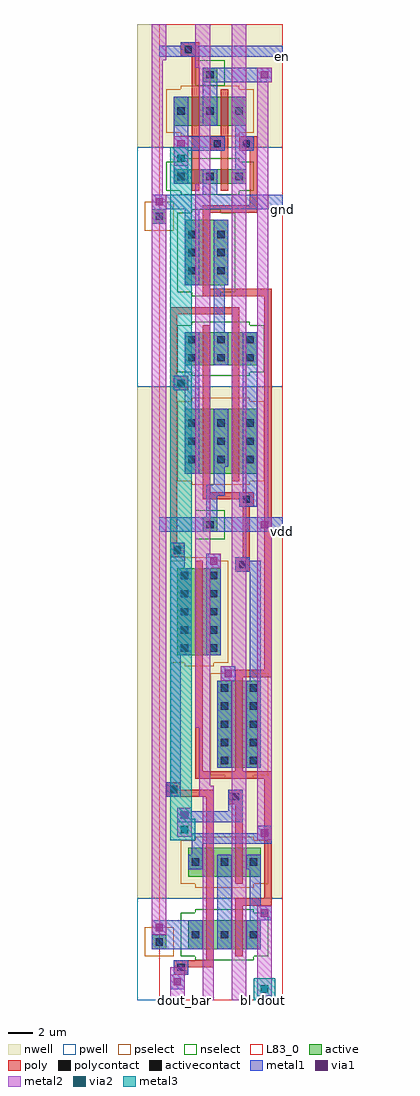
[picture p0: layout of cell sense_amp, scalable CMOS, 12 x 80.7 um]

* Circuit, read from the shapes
.subckt sense_amp bl br dout dout_bar en gnd vdd
M1 gnd en n1 gnd nfet w=1.2u l=0.6u
M2 n2 n3 dout_bar gnd nfet w=2.7u l=0.6u
M3 n2 n4 gnd gnd nfet w=5.4u l=0.6u
M4 n5 dout_bar gnd gnd nfet w=2.4u l=0.6u
M5 n4 n1 gnd gnd nfet w=1.2u l=0.6u
M6 n3 dout_bar n2 gnd nfet w=2.7u l=0.6u
M7 dout n4 n5 gnd nfet w=2.4u l=0.6u
M8 vdd en n1 vdd pfet w=2.4u l=0.6u
M9 br n4 dout_bar vdd pfet w=7.2u l=0.6u
M10 vdd n3 dout_bar vdd pfet w=5.4u l=0.6u
M11 n5 dout_bar vdd vdd pfet w=2.4u l=0.6u
M12 n4 n1 vdd vdd pfet w=2.4u l=0.6u
M13 n3 dout_bar vdd vdd pfet w=5.4u l=0.6u
M14 dout n1 n5 vdd pfet w=2.4u l=0.6u
M15 n3 n4 bl vdd pfet w=7.2u l=0.6u
.ends

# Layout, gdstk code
import gdstk
lib = gdstk.Library(unit=1e-6, precision=1e-09)
def R(c, l, rs):  # rectangles x0, y0, x1, y1
    for r in rs: c.add(gdstk.rectangle(r[:2], r[2:], *l))
def A(c, l, x, y, w, h, nx, ny, dx, dy):  # array of equal rectangles
    R(c, l, [(x+i*dx, y+j*dy, x+i*dx+w, y+j*dy+h) for i in range(nx) for j in range(ny)])
pwell = (41, 0)
nwell = (42, 0)
active = (43, 0)
pselect = (44, 0)
nselect = (45, 0)
poly = (46, 0)
polycontact = (47, 0)
activecontact = (48, 0)
metal1 = (49, 0)
via1 = (50, 0)
metal2 = (51, 0)
via2 = (61, 0)
metal3 = (62, 0)
L83_0 = (83, 0)

sense_amp = lib.new_cell('sense_amp')
R(sense_amp, pwell, [(-1.8,0,10.2,8.4), (-1.8,50.7,10.2,70.5)])
R(sense_amp, nwell, [(-1.8,8.4,10.2,50.7), (-1.8,70.5,10.2,80.7)])
R(sense_amp, active, [(-0.6,4.2,0.6,5.4), (2.4,4.2,8.4,6.6), (2.4,10.2,8.4,12.6), (4.8,19.2,8.4,26.4), (1.5,28.5,5.1,35.7), (3.6,38.7,4.8,39.9), (2.1,43.5,8.1,48.9), (2.1,52.5,8.1,55.2), (2.1,59.1,5.7,64.5), (-0.6,64.2,0.6,65.4), (1.2,67.5,7.2,68.7), (1.2,72.3,7.2,74.7), (3.6,75.9,4.8,77.1)])
R(sense_amp, pselect, [(-1.2,3.6,1.2,6), (3,9.3,7.8,9.6), (1.8,9.6,9,13.2), (3,13.2,7.8,13.5), (5.4,18.3,7.8,18.6), (4.2,18.6,9,27), (5.4,27,7.8,27.3), (2.1,27.6,4.5,27.9), (0.9,27.9,5.7,36.3), (2.1,36.3,4.5,36.6), (2.7,42.6,7.5,42.9), (1.5,42.9,8.7,49.5), (2.7,49.5,7.5,49.8), (-1.2,63.6,1.2,66), (1.8,71.4,6.6,71.7), (0.6,71.7,7.8,75.3), (1.8,75.3,6.6,75.6)])
R(sense_amp, nselect, [(3,3.3,7.8,3.6), (1.8,3.6,9,7.2), (3,7.2,7.8,7.5), (3,38.1,5.4,40.5), (2.7,51.6,7.5,51.9), (1.5,51.9,8.7,55.8), (2.7,55.8,7.5,56.1), (2.7,58.2,5.1,58.5), (1.5,58.5,6.3,65.1), (2.7,65.1,5.1,65.4), (1.8,66.6,6.6,66.9), (0.6,66.9,7.8,69.3), (1.8,69.3,6.6,69.6), (3,75.6,5.4,77.7)])
R(sense_amp, poly, [(1.2,2.1,2.4,2.7), (1.2,2.7,4.5,3.3), (3.9,3.3,4.5,16.8), (6.3,3.6,6.9,7.8), (6.3,7.8,9.3,8.4), (8.7,8.4,9.3,18.3), (6.3,9.6,6.9,16.2), (5.7,16.2,6.9,17.4), (0.6,16.8,4.5,17.4), (0.6,17.4,1.8,18), (3,18.3,9.3,18.9), (3,18.9,3.6,36.3), (6.3,18.9,6.9,26.7), (6.3,26.7,9.3,27.3), (8.7,27.3,9.3,58.2), (6.3,35.4,7.5,36.6), (0.9,36.6,2.1,37.8), (6.9,36.6,7.5,40.8), (0.9,37.8,1.5,50.4), (6.6,40.8,7.8,41.4), (3.6,41.4,7.8,42), (3.6,42,4.2,55.8), (6,42.9,6.6,56.7), (0.9,50.4,2.4,51.6), (0.9,51.6,1.5,56.7), (0.9,56.7,6.6,57.3), (3.6,58.2,9.3,58.8), (3.6,58.8,4.2,65.1), (3.6,65.1,8.1,65.7), (7.5,65.7,8.1,70.2), (2.7,66.9,3.3,78), (5.1,66.9,5.7,70.2), (4.2,70.2,5.7,71.4), (6.6,70.2,8.1,71.4), (5.1,71.4,5.7,75.3), (1.8,78,3.3,79.2)])
R(sense_amp, polycontact, [(1.5,2.4,2.1,3), (6,16.5,6.6,17.1), (0.9,17.1,1.5,17.7), (6.6,35.7,7.2,36.3), (1.2,36.9,1.8,37.5), (6.9,41.1,7.5,41.7), (1.5,50.7,2.1,51.3), (4.5,70.5,5.1,71.1), (6.9,70.5,7.5,71.1), (2.1,78.3,2.7,78.9)])
A(sense_amp, activecontact, 2.7, 5.1, 0.6, 0.6, 3, 2, 2.4, 6)
A(sense_amp, activecontact, 5.1, 19.5, 0.6, 0.6, 1, 5, 0, 1.5)
A(sense_amp, activecontact, 7.5, 19.5, 0.6, 0.6, 1, 5, 0, 1.5)
A(sense_amp, activecontact, 1.8, 28.8, 0.6, 0.6, 1, 5, 0, 1.5)
A(sense_amp, activecontact, 4.2, 28.8, 0.6, 0.6, 1, 5, 0, 1.5)
A(sense_amp, activecontact, 2.4, 44.4, 0.6, 0.6, 3, 3, 2.4, 1.5)
A(sense_amp, activecontact, 2.4, 52.8, 0.6, 0.6, 3, 2, 2.4, 1.5)
A(sense_amp, activecontact, 2.4, 60, 0.6, 0.6, 1, 3, 0, 1.5)
A(sense_amp, activecontact, 4.8, 60, 0.6, 0.6, 1, 3, 0, 1.5)
A(sense_amp, activecontact, 1.5, 67.8, 0.6, 0.6, 3, 2, 2.4, 5.4)
R(sense_amp, activecontact, [(-0.3,4.5,0.3,5.1), (3.9,39,4.5,39.6), (-0.3,64.5,0.3,65.1), (3.9,76.2,4.5,76.8)])
R(sense_amp, metal1, [(0.9,0.9,2.1,2.1), (1.2,2.1,2.4,3.3), (-0.6,4.2,3.6,6.6), (4.8,4.2,6,12), (7.2,4.2,8.4,6.6), (7.5,6.6,9.3,7.8), (7.5,7.8,8.4,10.8), (2.4,10.8,3.6,12), (7.2,10.8,8.4,12), (2.7,12,3.6,12.9), (2.7,12.9,9.3,13.8), (8.1,13.8,9.3,14.4), (1.5,14.7,6.9,15.6), (1.5,15.6,2.7,15.9), (5.7,15.6,6.9,17.4), (0.6,16.8,1.8,18), (0.9,18,1.8,28.5), (4.8,19.2,6,26.4), (7.2,19.2,8.4,26.4), (5.1,26.4,6.3,27.6), (7.5,26.4,8.4,35.4), (0.9,28.5,2.7,35.7), (3.9,28.5,5.1,36.9), (6.3,35.4,8.4,36.3), (0.9,35.7,2.1,37.8), (6.3,36.3,7.5,36.6), (0,38.7,10.2,39.9), (3.9,39.9,4.8,41.7), (6.6,40.8,8.1,42), (3.9,41.7,5.4,42.6), (6.9,42,8.1,55.2), (4.5,42.6,5.4,44.1), (2.1,43.5,3.3,50.4), (4.5,44.1,5.7,48.9), (1.2,50.4,3.3,51.6), (2.1,51.6,3.3,55.2), (4.5,52.5,5.7,55.2), (4.5,55.2,5.4,59.1), (2.1,59.1,3.3,65.4), (4.5,59.1,5.7,64.5), (-0.6,64.2,0.6,65.4), (-0.6,65.4,10.2,66.6), (3.6,66.6,4.8,68.7), (1.2,67.5,2.4,70.2), (6,67.5,7.2,68.7), (6.3,68.7,7.2,70.2), (1.2,70.2,5.4,71.4), (6.3,70.2,7.8,71.4), (1.2,71.4,2.4,74.7), (6.3,71.4,7.2,72.3), (3.6,72.3,4.8,75.9), (6,72.3,7.2,74.7), (3.6,75.9,9.3,77.1), (0,78,10.2,78.9), (1.8,78.9,3,79.2)])
R(sense_amp, via1, [(1.2,1.2,1.8,1.8), (-0.3,5.7,0.3,6.3), (8.4,6.9,9,7.5), (8.4,13.5,9,14.1), (1.8,15,2.4,15.6), (5.4,26.7,6,27.3), (4.2,36,4.8,36.6), (8.4,39,9,39.6), (-0.3,65.7,0.3,66.3), (1.5,70.5,2.1,71.1), (8.4,76.2,9,76.8)])
R(sense_amp, metal2, [(0.9,0,2.1,2.7), (3.6,0,4.5,16.8), (6,0,7.2,26.4), (8.1,0.3,9.3,7.8), (-0.6,5.4,0.6,66.6), (8.1,13.2,9.3,39.9), (1.5,13.5,2.7,15.9), (3.3,16.8,4.5,17.7), (3.3,17.7,4.2,22.5), (3,22.5,4.2,35.7), (5.1,26.4,7.2,27.6), (6,27.6,7.2,80.7), (3,35.7,5.1,36.9), (3,36.9,4.2,67.5), (8.1,39.9,9,75.9), (-0.6,66.6,0.3,77.7), (3.3,67.5,4.2,77.1), (1.2,69,2.4,71.4), (8.1,75.9,9.3,77.1), (3,77.1,4.2,80.7), (-0.6,77.7,0.6,80.7)])
R(sense_amp, via2, [(8.4,0.6,9,1.2), (1.8,13.8,2.4,14.4), (1.5,69.3,2.1,69.9)])
R(sense_amp, metal3, [(7.8,0,9.6,1.8), (0.9,13.2,3,15), (0.9,15,2.7,70.5)])
R(sense_amp, L83_0, [(0,0,10.2,80.7)])
sense_amp.add(gdstk.Label('gnd', (10.2,65.4), layer=49, texttype=0))
sense_amp.add(gdstk.Label('en', (10.2,78), layer=49, texttype=0))
sense_amp.add(gdstk.Label('vdd', (10.2,38.7), layer=49, texttype=0))
sense_amp.add(gdstk.Label('dout_bar', (2.1,0), layer=51, texttype=0))
sense_amp.add(gdstk.Label('bl', (7.2,0), layer=51, texttype=0))
sense_amp.add(gdstk.Label('dout', (9.3,0), layer=62, texttype=0))
sense_amp.add(gdstk.Label('br', (4.5,0), layer=51, texttype=0))

lib.write_gds('sense_amp.gds')
